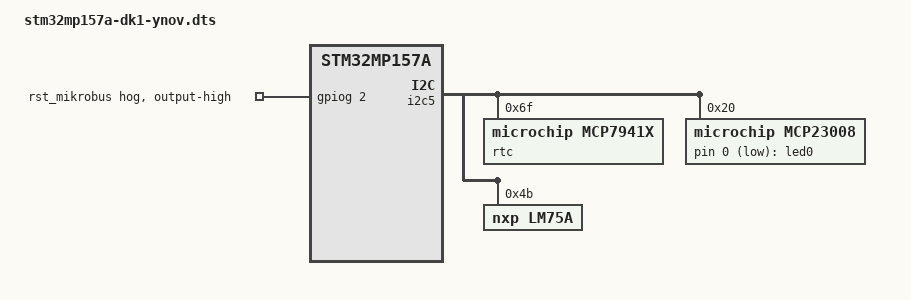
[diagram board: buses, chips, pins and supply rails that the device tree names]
// SPDX-License-Identifier: (GPL-2.0+ OR MIT)
/*
 * Copyright (C) Joris Offouga <offougajoris@gmail.com>.
 */

/dts-v1/;

#include "stm32mp157a-dk1.dts"
#include "stm32mp157a-dk1-u-boot.dtsi"

/ {
	leds {
        u-boot,dm-pre-reloc;
		compatible = "gpio-leds";
		led0 {
			label = "led0";
			gpios = <&mcp23008 0 GPIO_ACTIVE_LOW>;
			default-state = "on";
		};
	};
};

&gpiog {
	u-boot,dm-pre-reloc;
	rst_mikrobus {
		gpio-hog;
		gpios = <2 GPIO_ACTIVE_HIGH>;
		output-high;
	};
};

&i2c5 {
    u-boot,dm-pre-reloc;
	status = "okay";

	rtc@6f {
		compatible = "microchip,mcp7941x";
		reg = <0x6f>;
	};
	
	mcp23008: mcp23008@20 {
		compatible = "microchip,mcp23008";
		#gpio-cells = <2>;
		reg = <0x20>;
	};

	lm75a@4b {
		compatible = "nxp,lm75a";
		reg = <0x4b>;
		status = "okay";
	};
};
